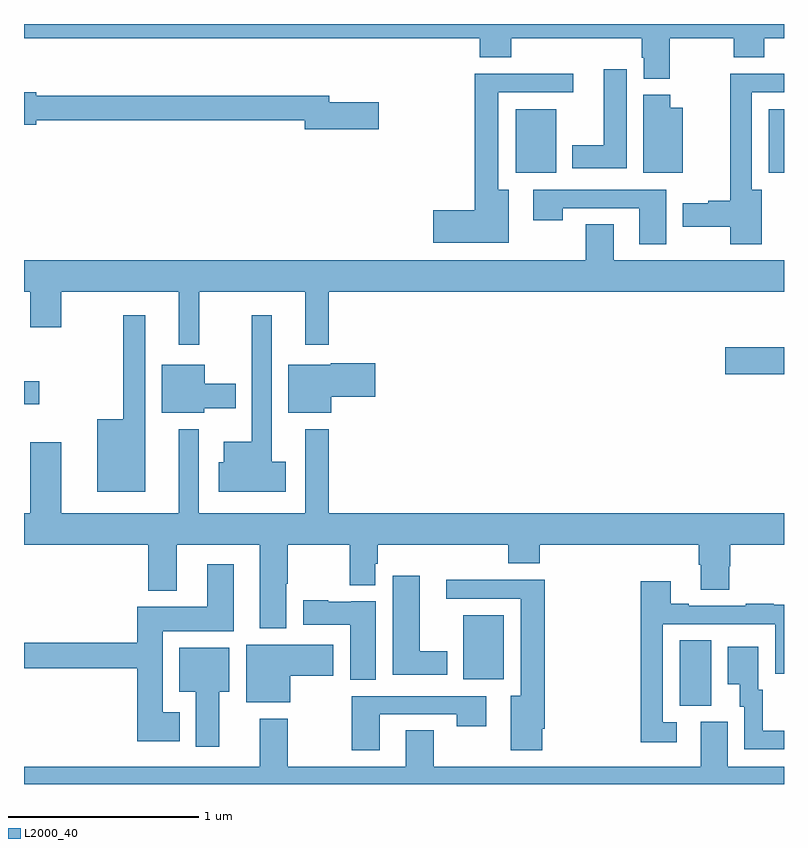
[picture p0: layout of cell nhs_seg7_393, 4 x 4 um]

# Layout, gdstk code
import gdstk
lib = gdstk.Library(unit=1e-6, precision=1e-09)
def R(c, l, rs):  # rectangles x0, y0, x1, y1
    for r in rs: c.add(gdstk.rectangle(r[:2], r[2:], *l))
def P(c, l, *ps):  # polygons
    for p in ps: c.add(gdstk.Polygon(p, *l))
L2000_40 = (2000, 40)

nhs_seg7_393 = lib.new_cell('nhs_seg7_393')
R(nhs_seg7_393, L2000_40, [(144.452,1022.413,144.616,1022.756), (143.312,1022.552,143.524,1022.887), (141,1023.998,141.079,1024.12), (144.69,1024.157,145,1024.299), (143.588,1025.216,143.8,1025.551), (144.92,1025.216,145,1025.551)])
P(nhs_seg7_393, L2000_40, [(144.399,1025.924),(144.736,1025.924),(144.736,1025.825),(144.896,1025.825),(144.896,1025.924),(145,1025.924),(145,1026),(141,1026),(141,1025.924),(143.399,1025.924),(143.399,1025.825),(143.564,1025.825),(143.564,1025.924),(144.251,1025.924),(144.251,1025.823),(144.263,1025.823),(144.263,1025.713),(144.399,1025.713)],
  [(144.172,1025.761),(144.05,1025.761),(144.05,1025.362),(143.885,1025.362),(143.885,1025.24),(144.172,1025.24)],
  [(144.883,1025.128),(144.829,1025.128),(144.829,1025.64),(145,1025.64),(145,1025.738),(144.716,1025.738),(144.716,1025.069),(144.6,1025.069),(144.6,1025.056),(144.468,1025.056),(144.468,1024.934),(144.716,1024.934),(144.716,1024.842),(144.883,1024.842)],
  [(143.551,1025.128),(143.497,1025.128),(143.497,1025.64),(143.89,1025.64),(143.89,1025.738),(143.372,1025.738),(143.372,1025.021),(143.154,1025.021),(143.154,1024.85),(143.551,1024.85)],
  [(142.867,1025.589),(142.606,1025.589),(142.606,1025.623),(141.064,1025.623),(141.064,1025.641),(141,1025.641),(141,1025.471),(141.064,1025.471),(141.064,1025.494),(142.478,1025.494),(142.478,1025.447),(142.867,1025.447)],
  [(144.466,1025.56),(144.402,1025.56),(144.402,1025.628),(144.26,1025.628),(144.26,1025.216),(144.466,1025.216)],
  [(144.379,1025.127),(143.679,1025.127),(143.679,1024.968),(143.835,1024.968),(143.835,1025.031),(144.239,1025.031),(144.239,1024.842),(144.379,1024.842)],
  [(141.922,1024.592),(142.481,1024.592),(142.481,1024.311),(142.603,1024.311),(142.603,1024.592),(145,1024.592),(145,1024.756),(144.103,1024.756),(144.103,1024.946),(143.956,1024.946),(143.956,1024.756),(141,1024.756),(141,1024.592),(141.032,1024.592),(141.032,1024.404),(141.196,1024.404),(141.196,1024.592),(141.815,1024.592),(141.815,1024.311),(141.922,1024.311)],
  [(142.378,1023.697),(142.303,1023.697),(142.303,1024.468),(142.199,1024.468),(142.199,1023.802),(142.052,1023.802),(142.052,1023.693),(142.025,1023.693),(142.025,1023.539),(142.378,1023.539)],
  [(141.637,1024.468),(141.523,1024.468),(141.523,1023.919),(141.386,1023.919),(141.386,1023.539),(141.637,1023.539)],
  [(142.618,1024.037),(142.849,1024.037),(142.849,1024.215),(142.614,1024.215),(142.614,1024.207),(142.391,1024.207),(142.391,1023.953),(142.618,1023.953)],
  [(141.948,1023.977),(142.114,1023.977),(142.114,1024.107),(141.952,1024.107),(141.952,1024.207),(141.725,1024.207),(141.725,1023.953),(141.948,1023.953)],
  [(142.381,1023.055),(142.389,1023.055),(142.389,1023.26),(142.714,1023.26),(142.714,1023.047),(142.849,1023.047),(142.849,1023.159),(142.862,1023.159),(142.862,1023.26),(143.549,1023.26),(143.549,1023.161),(143.714,1023.161),(143.714,1023.26),(144.551,1023.26),(144.551,1023.154),(144.563,1023.154),(144.563,1023.022),(144.711,1023.022),(144.711,1023.147),(144.716,1023.147),(144.716,1023.26),(145,1023.26),(145,1023.424),(142.603,1023.424),(142.603,1023.868),(142.481,1023.868),(142.481,1023.424),(141.919,1023.424),(141.919,1023.868),(141.815,1023.868),(141.815,1023.424),(141.196,1023.424),(141.196,1023.799),(141.032,1023.799),(141.032,1023.424),(141,1023.424),(141,1023.26),(141.653,1023.26),(141.653,1023.017),(141.805,1023.017),(141.805,1023.26),(142.241,1023.26),(142.241,1022.819),(142.381,1022.819)],
  [(141.82,1022.377),(141.73,1022.377),(141.73,1022.804),(142.105,1022.804),(142.105,1023.157),(141.965,1023.157),(141.965,1022.932),(141.596,1022.932),(141.596,1022.744),(141,1022.744),(141,1022.608),(141.596,1022.608),(141.596,1022.225),(141.82,1022.225)],
  [(143.227,1022.698),(143.083,1022.698),(143.083,1023.097),(142.94,1023.097),(142.94,1022.576),(143.227,1022.576)],
  [(143.728,1022.29),(143.741,1022.29),(143.741,1023.074),(143.223,1023.074),(143.223,1022.976),(143.615,1022.976),(143.615,1022.464),(143.561,1022.464),(143.561,1022.178),(143.728,1022.178)],
  [(144.436,1022.325),(144.363,1022.325),(144.363,1022.841),(144.954,1022.841),(144.954,1022.58),(145,1022.58),(145,1022.943),(144.947,1022.943),(144.947,1022.95),(144.799,1022.95),(144.799,1022.937),(144.499,1022.937),(144.499,1022.95),(144.403,1022.95),(144.403,1023.067),(144.247,1023.067),(144.247,1022.22),(144.436,1022.22)],
  [(142.852,1022.962),(142.722,1022.962),(142.722,1022.959),(142.602,1022.959),(142.602,1022.967),(142.47,1022.967),(142.47,1022.837),(142.718,1022.837),(142.718,1022.548),(142.852,1022.548)],
  [(142.402,1022.569),(142.627,1022.569),(142.627,1022.734),(142.169,1022.734),(142.169,1022.429),(142.402,1022.429)],
  [(145,1022.28),(144.889,1022.28),(144.889,1022.496),(144.865,1022.496),(144.865,1022.722),(144.704,1022.722),(144.704,1022.525),(144.767,1022.525),(144.767,1022.406),(144.792,1022.406),(144.792,1022.184),(145,1022.184)],
  [(142.027,1022.486),(142.081,1022.486),(142.081,1022.716),(141.818,1022.716),(141.818,1022.486),(141.905,1022.486),(141.905,1022.196),(142.027,1022.196)],
  [(142.873,1022.367),(143.278,1022.367),(143.278,1022.304),(143.434,1022.304),(143.434,1022.463),(142.726,1022.463),(142.726,1022.178),(142.873,1022.178)],
  [(145,1022.092),(144.703,1022.092),(144.703,1022.328),(144.563,1022.328),(144.563,1022.092),(143.157,1022.092),(143.157,1022.282),(143.009,1022.282),(143.009,1022.092),(142.389,1022.092),(142.389,1022.344),(142.241,1022.344),(142.241,1022.092),(141,1022.092),(141,1022),(145,1022)])

lib.write_gds('nhs_seg7_393.gds')
